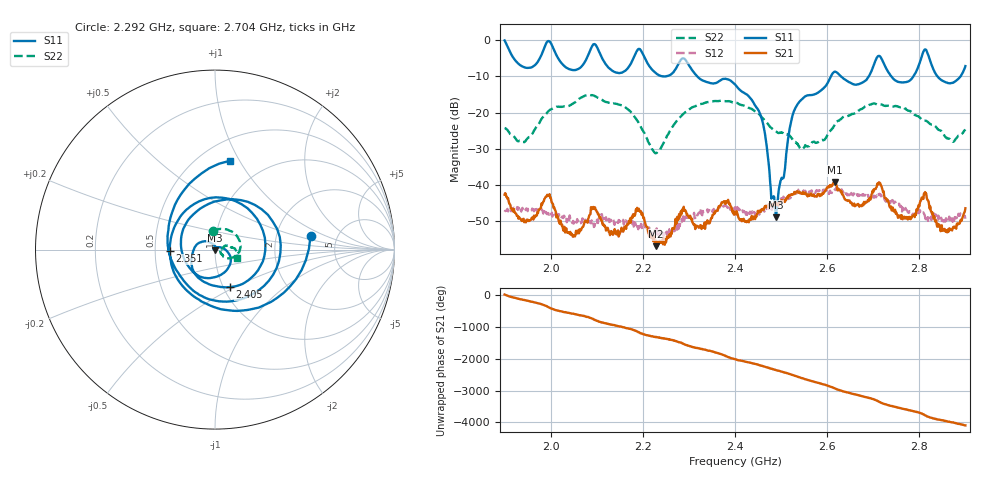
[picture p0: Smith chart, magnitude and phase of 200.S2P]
! C:\Users\rflab\Downloads\Lab5_KD_ZW\200.S2P
! Touchstone 1.1 file saved by VNA.EXE V1.65 (www.ke5fx.com/gpib/readme.htm)
! 11/12/2024 12:19:49 AM
!  Source: HEWLETT PACKARD,8753D,0,6.14
!  Min freq: 1.900000E+009 Hz
!  Max freq: 2.900000E+009 Hz
!  Points: 801
!  Params: S11 S21 S12 S22
# GHZ S RI R 50
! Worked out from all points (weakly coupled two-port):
!   801 points, 1.9 GHz to 2.9 GHz, reference 50 ohm
!   highest |S21| = -39.30 dB at 2.616 GHz (marker M1); lowest = -57.0 dB at 2.229 GHz (marker M2)
!   lowest |S11| = -49.0 dB at 2.489 GHz (marker M3), VSWR 1.01, Z = 49.9 - j0.349 ohm
!   |S11| at or under -10 dB: 2.318 GHz to 2.608 GHz (290 MHz wide, 11.8 % of centre); 2.63 GHz to 2.69 GHz (60.46 MHz wide, 2.27 % of centre); 2.839 GHz to 2.889 GHz (50.04 MHz wide, 1.75 % of centre) (the widest 3 of 5)
!   |S22| runs from -31.3 to -15.1 dB; largest |S21 - S12| = 0.0043
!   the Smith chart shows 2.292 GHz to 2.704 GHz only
!   S11 on the Smith chart (normalised r, x): 2.292 GHz: 3.17, +0.67; 2.351 GHz: 0.60, -0.01; 2.405 GHz: 1.07, -0.47; 2.704 GHz: 0.69, +0.91
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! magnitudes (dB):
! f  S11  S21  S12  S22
! 1.9 GHz  0.0  -42.7  -47.5  -24.3
! 1.942 GHz  -7.5  -50.4  -46.9  -28.2
! 1.995 GHz  -0.2  -43.0  -47.9  -19.6
! 2.067 GHz  -7.2  -52.0  -50.4  -15.8
! 2.19 GHz  -2.5  -47.2  -52.3  -22.6
! 2.229 GHz  -9.2  -57.0  -53.7  -31.2
! 2.234 GHz  -9.6  -55.9  -53.8  -30.7
! 2.292 GHz  -5.4  -47.1  -48.8  -19.9
! 2.351 GHz  -12.0  -48.3  -47.5  -16.9
! 2.4 GHz  -12.2  -47.5  -46.2  -17.3
! 2.405 GHz  -13.0  -48.0  -46.3  -17.4
! 2.456 GHz  -21.1  -47.4  -47.4  -21.0
! 2.489 GHz  -49.0  -45.4  -45.8  -25.2
! 2.527 GHz  -19.8  -42.5  -42.7  -27.8
! 2.567 GHz  -15.1  -43.1  -42.0  -28.2
! 2.616 GHz  -8.7  -39.3  -41.4  -23.3
! 2.704 GHz  -6.0  -41.2  -43.4  -17.6
! 2.734 GHz  -9.0  -45.0  -44.6  -18.1
! 2.777 GHz  -11.3  -48.9  -47.7  -19.5
! 2.812 GHz  -2.6  -42.0  -48.8  -22.3
! 2.856 GHz  -11.6  -52.9  -50.2  -26.7
! 2.9 GHz  -7.1  -46.5  -49.4  -24.7
